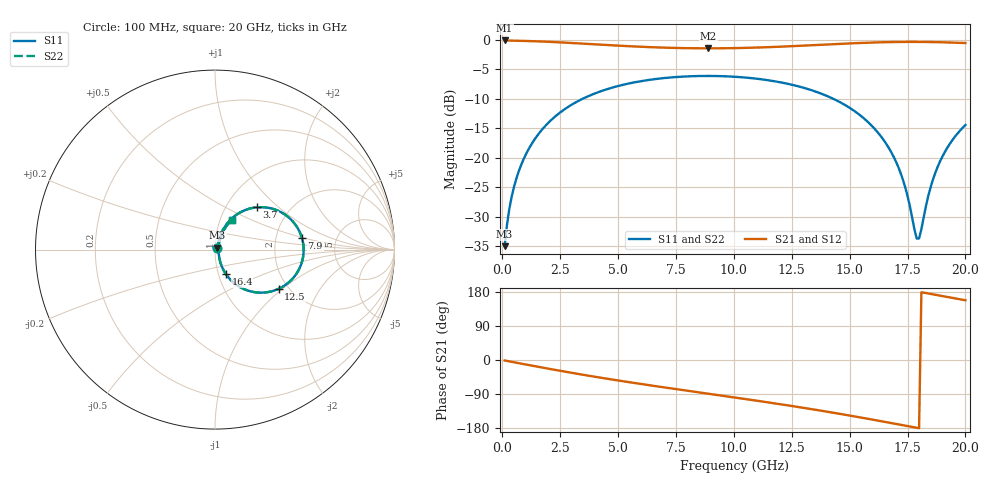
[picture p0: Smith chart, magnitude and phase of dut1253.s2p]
! Touchstone file exported from HFSS 2026.1.0
!  File:  C:/ffzhzh/LocalFiles/Ansys_Project_Files/temp_train_TSV_RDL_1253_1783325872_5512.aedt
!  Generated:  04:29:42 PM Jul  6, 2026
!  Design:  TSV_RDL
!  Project:  temp_train_TSV_RDL_1253_1783325872_5512
! Variables:
!  h_bsmrdl = 5.85um
!  h_ox = 20um
!  h_rdl = 5um
!  h_sub = 55.31um
!  h_tmrdl = 3.35um
!  h_tsv = 55.31um
!  h_via = 3um
!  l_bsmrdl = 208.68um
!  l_sub = 3584.41um
!  l_tmrdl = 607.29um
!  m_sub = 200um
!  pitch = 47.94um
!  r_tsv = 7.43um
!  s_tmrdl = 10um
!  w_bsmrdl = 16.4um
!  w_sub = 500um
!  w_tmrdl = 26.67um
!  x_tsv_center1 = 620.625um
!  x_tsv_center2 = 845.705um
!  x_tsv_center3 = 1479.665um
!  x_tsv_center4 = 1704.745um
!  x_tsv_center5 = 2338.705um
!  x_tsv_center6 = 2563.785um
# GHz S MA R 50.000000
! Terminal data exported
! Port[1] = TM_RDL1_1_T1
! Port[2] = TM_RDL5_1_T1
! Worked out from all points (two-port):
!   200 points, 100 MHz to 20 GHz, reference 50 ohm
!   highest |S21| = -0.12 dB at 100 MHz (marker M1); lowest = -1.5 dB at 8.9 GHz (marker M2)
!   |S21| within 3 dB of the highest: start of sweep to end of sweep
!   lowest |S11| = -34.9 dB at 100 MHz (marker M3), VSWR 1.04, Z = 51.4 + j1.16 ohm
!   |S11| at or under -10 dB: start of sweep to 3.467 GHz; 14.3 GHz to end of sweep
!   |S22| runs from -34.9 to -6.1 dB; largest |S21 - S12| = 3.6e-14
!   S11 on the Smith chart (normalised r, x): 100 MHz: 1.03, +0.02; 3.7 GHz: 1.39, +0.73; 7.9 GHz: 2.82, +0.48; 12.5 GHz: 1.78, -0.94; 16.4 GHz: 1.08, -0.30; 20 GHz: 1.14, +0.39
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0.1  0.0179 38.9  0.9863 -1.2  0.9863 -1.2  0.0179 38.9
! Gamma 0 0 0 0
! Port Impedance 50 0 50 0
0.3  0.03663 61.9  0.9843 -3.6  0.9843 -3.6  0.03663 61.9
0.5  0.05629 67.1  0.9821 -6.0  0.9821 -6.0  0.05629 67.1
1.1  0.115 68.2  0.9754 -12.9  0.9754 -12.9  0.115 68.2
2.1  0.2081 60.5  0.9588 -24.1  0.9588 -24.1  0.2081 60.5
3.5  0.3186 47.1  0.9268 -39.1  0.9268 -39.1  0.3186 47.1
3.7  0.3321 45.2  0.9219 -41.2  0.9219 -41.2  0.3321 45.2
6.8  0.4696 17.0  0.8597 -70.6  0.8597 -70.6  0.4696 17.0
7.9  0.4887 7.6  0.849 -80.3  0.849 -80.3  0.4888 7.6
8.9  0.4939 -0.8  0.8458 -89.0  0.8458 -89.0  0.494 -0.8
10.1  0.4852 -10.8  0.8501 -99.5  0.8501 -99.5  0.4852 -10.8
12.5  0.4164 -31.7  0.8819 -121.3  0.8819 -121.3  0.4165 -31.7
13.4  0.3716 -39.8  0.8993 -130.1  0.8993 -130.1  0.3717 -39.8
15.1  0.2577 -55.6  0.9329 -147.6  0.9329 -147.6  0.2578 -55.6
16.4  0.148 -66.1  0.9521 -161.9  0.9521 -161.9  0.148 -66.1
16.7  0.1207 -67.6  0.955 -165.2  0.955 -165.2  0.1208 -67.6
17.3  0.06557 -65.9  0.9585 -172.0  0.9585 -172.0  0.06561 -66.0
17.9  0.02075 -13.5  0.959 -178.8  0.959 -178.8  0.02073 -13.7
18  0.02081 12.2  0.9588 -180.0  0.9588 -180.0  0.02077 12.1
18.4  0.04786 59.0  0.957 175.5  0.957 175.5  0.0478 59.0
18.8  0.08378 65.6  0.9539 171.0  0.9539 171.0  0.08373 65.6
20  0.1901 60.5  0.9375 157.6  0.9375 157.6  0.19 60.5
